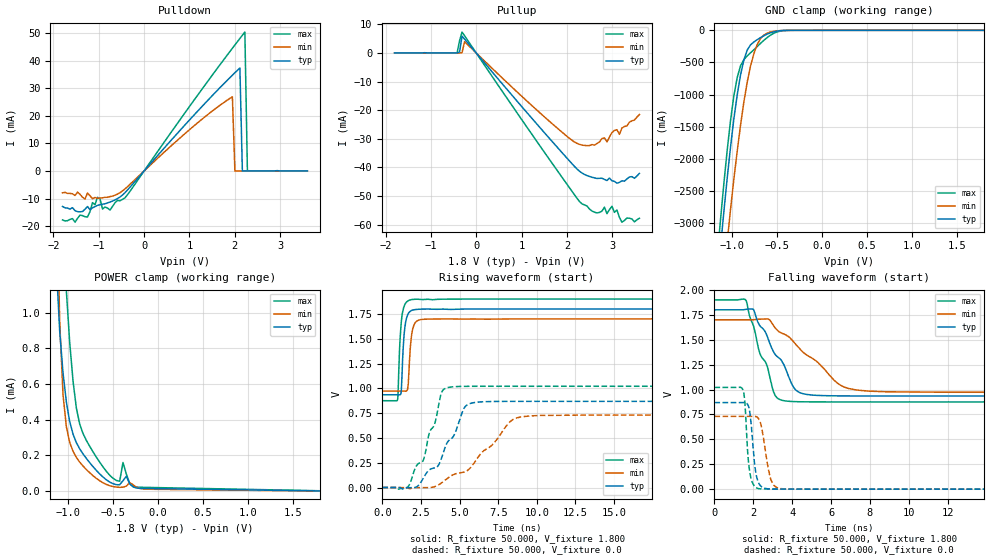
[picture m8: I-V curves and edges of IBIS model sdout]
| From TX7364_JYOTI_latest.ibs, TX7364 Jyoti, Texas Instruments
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|   Model sdout
[Model] sdout
Model_type 3-state
Polarity   Non-Inverting
Enable   Active-High
Vmeas =  0.300V
Cref =  2.000pF
Rref =  50.000
Vref =  0.0V
C_comp   2.856pF   2.813pF   2.941pF
[Temperature Range]   25.000   0.125k   -40.000
[Voltage Range]   1.800V   1.700V   1.900V
[Pullup Reference]   1.800V   1.700V   1.900V
[Pulldown Reference]   0.0V   0.0V   0.0V
[POWER Clamp Reference]   1.800V   1.700V   1.900V
[GND Clamp Reference]   0.0V   0.0V   0.0V
C_comp   2.856pF   2.813pF   2.941pF
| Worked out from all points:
|   slope of the pulldown table from 0 to 0.27 V, typ, clamps not added: 53.2 ohm
|   slope of the pullup table from 0 to 0.27 V, typ, clamps not added: 53.2 ohm
|   GND clamp passes 1 mA (typ) near -0.40 V on its own axis
|   POWER clamp passes 1 mA (typ) near -1.11 V on its own axis
|   rising waveform, R_fixture 50.000, V_fixture 1.800: 20-80 % time 201ps typ, 210ps min, 199ps max; typ from 0.935 V to 1.8 V
|   rising waveform, R_fixture 50.000, V_fixture 0.0: 20-80 % time 2.03ns typ, 2.91ns min, 1.47ns max; typ from 0 V to 0.869 V
|   falling waveform, R_fixture 50.000, V_fixture 1.800: 20-80 % time 1.47ns typ, 2.44ns min, 1.01ns max; typ from 1.8 V to 0.935 V
|   falling waveform, R_fixture 50.000, V_fixture 0.0: 20-80 % time 260ps typ, 374ps min, 210ps max; typ from 0.869 V to 0 V
[Pulldown]
|Voltage   I(typ)   I(min)   I(max)
-1.8V     -12.88mA   -7.928mA   -17.77mA
-1.249V   -12.9mA    -8.004mA   -16.7mA
-1.029V   -12.46mA   -9.927mA   -9.536mA
-753mV    -11.28mA   -9.292mA   -14.18mA
-422mV    -7.876mA   -6.511mA   -9.759mA
1.947V    34.71mA    26.87mA    44.48mA
2.002V    35.6mA     -3.666nA   45.67mA
2.112V    37.33mA    1.165nA    48.03mA
2.167V    38.31nA    -2.107nA   49.2mA
2.222V    25.55nA    -30.98nA   50.34mA
2.278V    1.328nA    62.34nA    79.18nA
3.6V      -12.04nA   -151.7pA   -63.14nA
[Pullup]
|Voltage   I(typ)   I(min)   I(max)
-1.8V     5.751nA    49.78nA    -16.03nA
-422mV    980.1nA    69.21nA    4.346uA
-367mV    365.6uA    2.426uA    4.292mA
-312mV    5.879mA    117.1uA    7.297mA
-257mV    4.851mA    3.96mA     6.017mA
2.278V    -41.31mA   -31.94mA   -51.91mA
2.663V    -43.85mA   -31.64mA   -55.88mA
2.829V    -44.17mA   -29.66mA   -53.89mA
2.884V    -44.56mA   -31.06mA   -56.12mA
2.994V    -44.68mA   -27.82mA   -53.56mA
3.214V    -44.66mA   -26.23mA   -59.12mA
3.6V      -42.08mA   -21.51mA   -57.74mA
[GND_clamp]
|Voltage   I(typ)   I(min)   I(max)
-1.8V     -15.3A     -15.8A     -15.32A
-1.169V   -3.939A    -4.907A    -3.527A
-1.132V   -3.367A    -4.35A     -2.94A
-1.095V   -2.82A     -3.811A    -2.382A
-1.058V   -2.301A    -3.289A    -1.866A
-1.021V   -1.819A    -2.79A     -1.406A
-946mV    -1.001A    -1.876A    -732.7mA
-872mV    -458.8mA   -1.113A    -456.3mA
-761mV    -181mA     -364.2mA   -302.7mA
-649mV    -84.17mA   -72.88mA   -155mA
-390mV    -798uA     -895.4uA   -1.407mA
1.8V      0A         0A         0A
[POWER_clamp]
|Voltage   I(typ)   I(min)   I(max)
-1.8V     28.44mA    24.18mA    36.52mA
-1.132V   1.262mA    1.798mA    2.366mA
-1.095V   896.1uA    950.2uA    1.87mA
-1.058V   662.6uA    539.9uA    1.471mA
-1.021V   500.2uA    361.1uA    1.125mA
-946mV    318.2uA    221.8uA    613.9uA
-872mV    235.9uA    161.6uA    374.8uA
-612mV    77.75uA    45.54uA    134.4uA
-427mV    34.53uA    20.1uA     54.67uA
-390mV    57.23uA    21.14uA    159.6uA
-241mV    16.57uA    20.92uA    21.7uA
1.8V      0A         0A         972.7nA
[Ramp]
| variable   typ   min   max
dV/dt_r   0.521/2.028n   0.438/2.917n   0.612/1.474n
dV/dt_f   0.519/1.466n   0.437/2.443n   0.615/1.019n
R_load = 50.000
[Rising Waveform]
R_fixture= 50.000
V_fixture= 1.800
V_fixture_min= 1.700
V_fixture_max= 1.900
|time   V(typ)   V(min)   V(max)
0s        935.1mV    972.1mV    875.2mV
990ps     935.2mV    972.1mV    888.9mV
1.11ns    934.5mV    972.1mV    1.383V
1.23ns    986.1mV    972.1mV    1.675V
1.41ns    1.547V     971.9mV    1.827V
1.62ns    1.735V     985.5mV    1.876V
1.68ns    1.754V     1.052V     1.883V
1.84ns    1.78V      1.462V     1.893V
2.06ns    1.792V     1.644V     1.897V
100ns     1.8V       1.7V       1.9V
[Rising Waveform]
R_fixture= 50.000
V_fixture= 0.0
V_fixture_min= 0.0
V_fixture_max= 0.0
|time   V(typ)   V(min)   V(max)
0s        7.142nV    186.6nV    21.09nV
1.72ns    -1.771mV   -9.691mV   20.46mV
2.66ns    96.36mV    -587uV     278.8mV
3.84ns    301.6mV    47.24mV    960.8mV
4.67ns    536.8mV    134.3mV    1.016V
5.3ns     801.7mV    156.1mV    1.02V
5.71ns    848.3mV    200.8mV    1.02V
8.28ns    868.5mV    665.4mV    1.021V
10.21ns   868.7mV    726.4mV    1.021V
100ns     868.7mV    730.5mV    1.021V
[Falling Waveform]
R_fixture= 50.000
V_fixture= 1.800
V_fixture_min= 1.700
V_fixture_max= 1.900
|time   V(typ)   V(min)   V(max)
0s        1.8V       1.7V       1.9V
1.6ns     1.804V     1.7V       1.9V
2.01ns    1.801V     1.7V       1.64V
2.33ns    1.643V     1.706V     1.368V
2.7ns     1.541V     1.709V     1.243V
3.13ns    1.351V     1.617V     938.2mV
3.99ns    1.052V     1.497V     879.7mV
6.46ns    936.1mV    1.046V     875.3mV
8.83ns    935.1mV    977.1mV    875.2mV
100ns     935.1mV    972.1mV    875.2mV
[Falling Waveform]
R_fixture= 50.000
V_fixture= 0.0
V_fixture_min= 0.0
V_fixture_max= 0.0
|time   V(typ)   V(min)   V(max)
0s        868.7mV    730.5mV    1.021V
1.47ns    869mV      730.4mV    997mV
1.57ns    869.3mV    730.4mV    861.5mV
1.71ns    849.8mV    730.4mV    371.9mV
1.83ns    754.5mV    730.5mV    156mV
2.09ns    217.3mV    730.6mV    24.25mV
2.35ns    39.07mV    677.1mV    3.494mV
2.92ns    1.392mV    86.94mV    787.3uV
3.66ns    916.1uV    2.113mV    159.3uV
100ns     10.69nV    186.9nV    39.06nV
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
